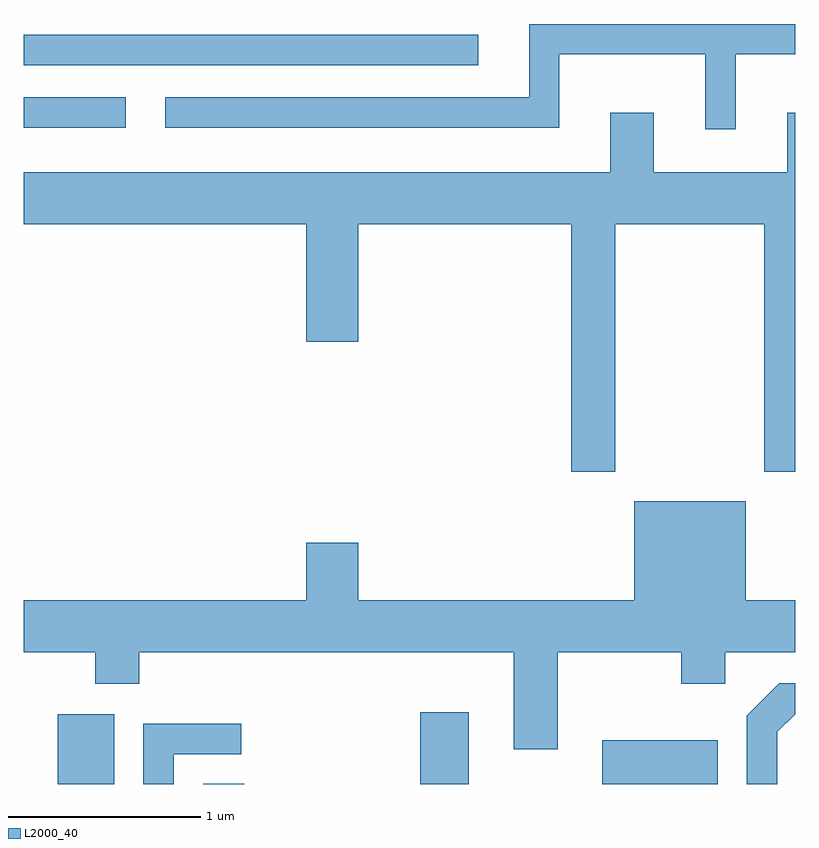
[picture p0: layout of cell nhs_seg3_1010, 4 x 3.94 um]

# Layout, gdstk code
import gdstk
lib = gdstk.Library(unit=1e-6, precision=1e-09)
def R(c, l, rs):  # rectangles x0, y0, x1, y1
    for r in rs: c.add(gdstk.rectangle(r[:2], r[2:], *l))
def P(c, l, *ps):  # polygons
    for p in ps: c.add(gdstk.Polygon(p, *l))
L2000_40 = (2000, 40)

nhs_seg3_1010 = lib.new_cell('nhs_seg3_1010')
R(nhs_seg3_1010, L2000_40, [(213.786,1231.892,214.079,1232.254), (214.541,1231.892,214.754,1231.894), (215.666,1231.892,215.919,1232.264), (216.611,1231.892,217.209,1232.119), (213.611,1235.296,214.138,1235.454), (213.611,1235.621,215.968,1235.779)])
P(nhs_seg3_1010, L2000_40, [(217.304,1235.676),(217.611,1235.676),(217.611,1235.834),(216.231,1235.834),(216.231,1235.454),(214.343,1235.454),(214.343,1235.296),(216.389,1235.296),(216.389,1235.676),(217.146,1235.676),(217.146,1235.288),(217.304,1235.288)],
  [(216.679,1234.796),(217.451,1234.796),(217.451,1233.511),(217.611,1233.511),(217.611,1235.374),(217.571,1235.374),(217.571,1235.064),(216.879,1235.064),(216.879,1235.374),(216.651,1235.374),(216.651,1235.064),(213.611,1235.064),(213.611,1234.796),(215.076,1234.796),(215.076,1234.186),(215.344,1234.186),(215.344,1234.796),(216.451,1234.796),(216.451,1233.511),(216.679,1233.511)],
  [(216.379,1232.576),(217.021,1232.576),(217.021,1232.411),(217.249,1232.411),(217.249,1232.576),(217.611,1232.576),(217.611,1232.844),(217.354,1232.844),(217.354,1233.359),(216.776,1233.359),(216.776,1232.844),(215.344,1232.844),(215.344,1233.144),(215.076,1233.144),(215.076,1232.844),(213.611,1232.844),(213.611,1232.576),(213.981,1232.576),(213.981,1232.411),(214.209,1232.411),(214.209,1232.576),(216.151,1232.576),(216.151,1232.071),(216.379,1232.071)],
  [(217.519,1232.164),(217.611,1232.255),(217.611,1232.414),(217.529,1232.414),(217.361,1232.247),(217.361,1231.892),(217.519,1231.892)],
  [(214.389,1232.046),(214.738,1232.046),(214.738,1232.204),(214.231,1232.204),(214.231,1231.892),(214.389,1231.892)])

lib.write_gds('nhs_seg3_1010.gds')
